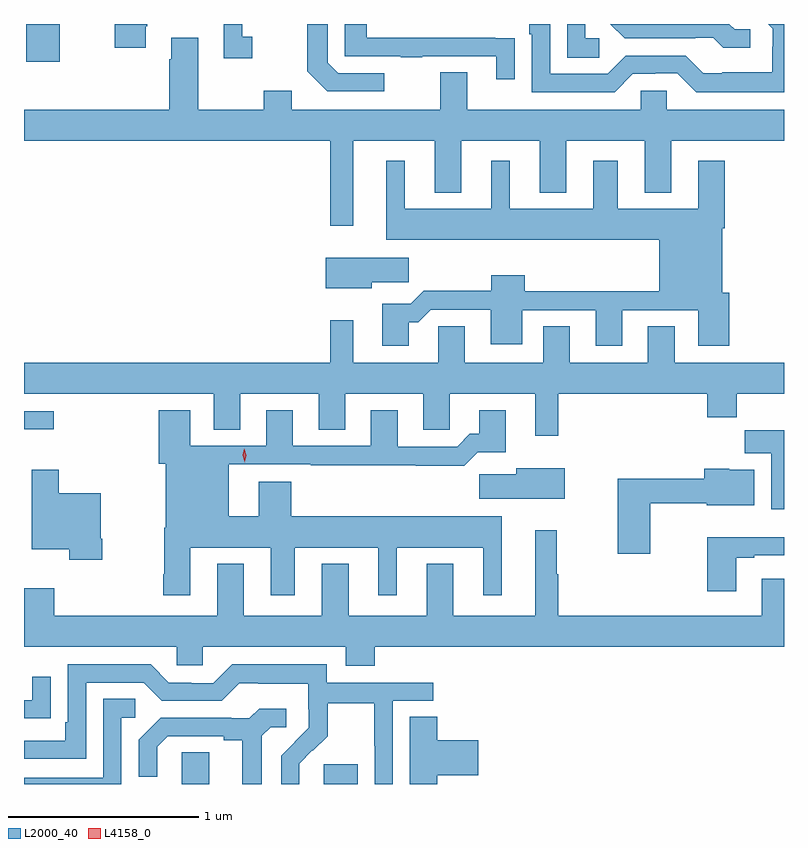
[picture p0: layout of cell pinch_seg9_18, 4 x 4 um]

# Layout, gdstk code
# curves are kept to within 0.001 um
import gdstk
lib = gdstk.Library(unit=1e-6, precision=1e-09)
def R(c, l, rs):  # rectangles x0, y0, x1, y1
    for r in rs: c.add(gdstk.rectangle(r[:2], r[2:], *l))
def P(c, l, *ps):  # polygons
    for p in ps: c.add(gdstk.Polygon(p, *l))
L2000_40 = (2000, 40)
L4158_0 = (4158, 0)

pinch_seg9_18 = lib.new_cell('pinch_seg9_18')
R(pinch_seg9_18, L2000_40, [(1106.988,1211.682,1107.133,1211.849), (1107.734,1211.682,1107.913,1211.787), (1106.157,1213.548,1106.314,1213.644), (1106.168,1215.483,1106.346,1215.682)])
P(pinch_seg9_18, L2000_40, [(1110.157,1215.682),(1110.074,1215.682),(1110.098,1215.658),(1110.098,1215.561),(1110.096,1215.561),(1110.096,1215.427),(1109.833,1215.427),(1109.833,1215.423),(1109.733,1215.423),(1109.64,1215.516),(1109.325,1215.516),(1109.229,1215.42),(1108.926,1215.42),(1108.926,1215.682),(1108.817,1215.682),(1108.817,1215.629),(1108.83,1215.629),(1108.83,1215.324),(1109.265,1215.324),(1109.361,1215.42),(1109.48,1215.42),(1109.48,1215.423),(1109.595,1215.423),(1109.695,1215.323),(1110.157,1215.323)],
  [(1109.98,1215.654),(1109.898,1215.654),(1109.87,1215.682),(1109.242,1215.682),(1109.318,1215.606),(1109.69,1215.606),(1109.69,1215.609),(1109.784,1215.609),(1109.836,1215.557),(1109.98,1215.557)],
  [(1109.185,1215.606),(1109.112,1215.606),(1109.112,1215.682),(1109.016,1215.682),(1109.016,1215.505),(1109.185,1215.505)],
  [(1108.739,1215.608),(1108.637,1215.608),(1108.637,1215.609),(1107.962,1215.609),(1107.962,1215.682),(1107.846,1215.682),(1107.846,1215.513),(1108.141,1215.513),(1108.141,1215.508),(1108.253,1215.508),(1108.253,1215.513),(1108.643,1215.513),(1108.643,1215.39),(1108.739,1215.39)],
  [(1108.054,1215.423),(1107.81,1215.423),(1107.756,1215.477),(1107.756,1215.682),(1107.648,1215.682),(1107.648,1215.433),(1107.753,1215.327),(1108.054,1215.327)],
  [(1106.797,1215.67),(1106.805,1215.67),(1106.805,1215.682),(1106.635,1215.682),(1106.635,1215.558),(1106.797,1215.558)],
  [(1107.358,1215.614),(1107.306,1215.614),(1107.306,1215.682),(1107.209,1215.682),(1107.209,1215.501),(1107.358,1215.501)],
  [(1107.889,1215.068),(1108.319,1215.068),(1108.319,1214.795),(1108.459,1214.795),(1108.459,1215.068),(1108.871,1215.068),(1108.871,1214.795),(1109.011,1214.795),(1109.011,1215.068),(1109.423,1215.068),(1109.423,1214.795),(1109.563,1214.795),(1109.563,1215.068),(1110.157,1215.068),(1110.157,1215.232),(1109.541,1215.232),(1109.541,1215.33),(1109.403,1215.33),(1109.403,1215.232),(1108.489,1215.232),(1108.489,1215.427),(1108.349,1215.427),(1108.349,1215.232),(1107.565,1215.232),(1107.565,1215.331),(1107.418,1215.331),(1107.418,1215.232),(1107.073,1215.232),(1107.073,1215.61),(1106.933,1215.61),(1106.933,1215.497),(1106.921,1215.497),(1106.921,1215.232),(1106.157,1215.232),(1106.157,1215.068),(1107.768,1215.068),(1107.768,1214.619),(1107.889,1214.619)],
  [(1108.183,1214.111),(1108.232,1214.111),(1108.299,1214.178),(1108.613,1214.178),(1108.613,1213.997),(1108.78,1213.997),(1108.78,1214.175),(1109.165,1214.175),(1109.165,1213.989),(1109.305,1213.989),(1109.305,1214.175),(1109.705,1214.175),(1109.705,1213.989),(1109.87,1213.989),(1109.87,1214.268),(1109.833,1214.268),(1109.833,1214.606),(1109.846,1214.606),(1109.846,1214.962),(1109.705,1214.962),(1109.705,1214.71),(1109.281,1214.71),(1109.281,1214.962),(1109.153,1214.962),(1109.153,1214.71),(1108.714,1214.71),(1108.714,1214.962),(1108.616,1214.962),(1108.616,1214.71),(1108.162,1214.71),(1108.162,1214.962),(1108.064,1214.962),(1108.064,1214.546),(1109.501,1214.546),(1109.501,1214.276),(1108.793,1214.276),(1108.793,1214.359),(1108.615,1214.359),(1108.615,1214.279),(1108.262,1214.279),(1108.192,1214.209),(1108.043,1214.209),(1108.043,1213.989),(1108.183,1213.989)],
  [(1107.988,1214.323),(1108.183,1214.323),(1108.183,1214.452),(1107.744,1214.452),(1107.744,1214.291),(1107.988,1214.291)],
  [(1108.969,1213.736),(1109.753,1213.736),(1109.753,1213.612),(1109.909,1213.612),(1109.909,1213.736),(1110.157,1213.736),(1110.157,1213.9),(1109.581,1213.9),(1109.581,1214.09),(1109.441,1214.09),(1109.441,1213.9),(1109.029,1213.9),(1109.029,1214.09),(1108.889,1214.09),(1108.889,1213.9),(1108.477,1213.9),(1108.477,1214.09),(1108.338,1214.09),(1108.338,1213.9),(1107.889,1213.9),(1107.889,1214.122),(1107.768,1214.122),(1107.768,1213.9),(1106.157,1213.9),(1106.157,1213.736),(1107.155,1213.736),(1107.155,1213.546),(1107.295,1213.546),(1107.295,1213.736),(1107.707,1213.736),(1107.707,1213.546),(1107.847,1213.546),(1107.847,1213.736),(1108.259,1213.736),(1108.259,1213.546),(1108.398,1213.546),(1108.398,1213.736),(1108.847,1213.736),(1108.847,1213.515),(1108.969,1213.515)],
  [(1107.031,1212.926),(1107.455,1212.926),(1107.455,1212.675),(1107.583,1212.675),(1107.583,1212.926),(1108.022,1212.926),(1108.022,1212.675),(1108.12,1212.675),(1108.12,1212.926),(1108.574,1212.926),(1108.574,1212.675),(1108.672,1212.675),(1108.672,1213.09),(1107.563,1213.09),(1107.563,1213.273),(1107.392,1213.273),(1107.392,1213.09),(1107.235,1213.09),(1107.235,1213.365),(1107.667,1213.365),(1107.667,1213.36),(1108.219,1213.36),(1108.219,1213.358),(1108.475,1213.358),(1108.544,1213.427),(1108.693,1213.427),(1108.693,1213.648),(1108.553,1213.648),(1108.553,1213.525),(1108.504,1213.525),(1108.437,1213.458),(1108.123,1213.458),(1108.123,1213.648),(1107.983,1213.648),(1107.983,1213.461),(1107.571,1213.461),(1107.571,1213.648),(1107.431,1213.648),(1107.431,1213.461),(1107.031,1213.461),(1107.031,1213.648),(1106.867,1213.648),(1106.867,1213.368),(1106.903,1213.368),(1106.903,1213.03),(1106.896,1213.03),(1106.896,1212.787),(1106.891,1212.787),(1106.891,1212.675),(1107.031,1212.675)],
  [(1110.157,1213.543),(1109.95,1213.543),(1109.95,1213.424),(1110.089,1213.424),(1110.089,1213.128),(1110.157,1213.128)],
  [(1109.002,1213.345),(1108.748,1213.345),(1108.748,1213.313),(1108.554,1213.313),(1108.554,1213.184),(1109.002,1213.184)],
  [(1109.454,1213.159),(1109.75,1213.159),(1109.75,1213.148),(1110.001,1213.148),(1110.001,1213.336),(1109.868,1213.336),(1109.868,1213.342),(1109.738,1213.342),(1109.738,1213.288),(1109.281,1213.288),(1109.281,1212.894),(1109.454,1212.894)],
  [(1106.568,1212.973),(1106.56,1212.973),(1106.56,1213.213),(1106.339,1213.213),(1106.339,1213.336),(1106.198,1213.336),(1106.198,1212.917),(1106.395,1212.917),(1106.395,1212.861),(1106.568,1212.861)],
  [(1108.004,1212.404),(1110.157,1212.404),(1110.157,1212.763),(1110.041,1212.763),(1110.041,1212.568),(1108.969,1212.568),(1108.969,1212.785),(1108.961,1212.785),(1108.961,1213.018),(1108.847,1213.018),(1108.847,1212.568),(1108.417,1212.568),(1108.417,1212.841),(1108.277,1212.841),(1108.277,1212.568),(1107.865,1212.568),(1107.865,1212.841),(1107.725,1212.841),(1107.725,1212.568),(1107.313,1212.568),(1107.313,1212.841),(1107.173,1212.841),(1107.173,1212.568),(1106.317,1212.568),(1106.317,1212.712),(1106.157,1212.712),(1106.157,1212.404),(1106.961,1212.404),(1106.961,1212.306),(1107.099,1212.306),(1107.099,1212.404),(1107.851,1212.404),(1107.851,1212.305),(1108.004,1212.305)],
  [(1109.905,1212.873),(1110.001,1212.873),(1110.001,1212.885),(1110.157,1212.885),(1110.157,1212.982),(1109.753,1212.982),(1109.753,1212.696),(1109.905,1212.696)],
  [(1107.605,1211.789),(1107.675,1211.859),(1107.678,1211.856),(1107.755,1211.933),(1107.755,1212.108),(1108,1212.108),(1108,1211.884),(1108.002,1211.884),(1108.002,1211.682),(1108.098,1211.682),(1108.098,1212.12),(1108.312,1212.12),(1108.312,1212.216),(1107.75,1212.216),(1107.75,1212.313),(1107.253,1212.313),(1107.153,1212.213),(1107.038,1212.213),(1107.038,1212.216),(1106.919,1212.216),(1106.823,1212.312),(1106.388,1212.312),(1106.388,1212.007),(1106.375,1212.007),(1106.375,1211.91),(1106.157,1211.91),(1106.157,1211.814),(1106.484,1211.814),(1106.484,1212.216),(1106.787,1212.216),(1106.883,1212.12),(1107.198,1212.12),(1107.291,1212.213),(1107.391,1212.213),(1107.391,1212.209),(1107.654,1212.209),(1107.654,1212.075),(1107.656,1212.075),(1107.656,1211.978),(1107.51,1211.83),(1107.51,1211.682),(1107.605,1211.682)],
  [(1106.195,1212.028),(1106.297,1212.028),(1106.297,1212.247),(1106.201,1212.247),(1106.201,1212.123),(1106.157,1212.123),(1106.157,1212.027),(1106.195,1212.027)],
  [(1106.67,1212.03),(1106.743,1212.03),(1106.743,1212.131),(1106.574,1212.131),(1106.574,1211.715),(1106.157,1211.715),(1106.157,1211.682),(1106.67,1211.682)],
  [(1107.409,1211.935),(1107.456,1211.982),(1107.538,1211.982),(1107.538,1212.079),(1107.394,1212.079),(1107.342,1212.027),(1107.248,1212.027),(1107.248,1212.03),(1106.876,1212.03),(1106.76,1211.914),(1106.76,1211.721),(1106.857,1211.721),(1106.857,1211.877),(1106.914,1211.934),(1107.209,1211.934),(1107.209,1211.912),(1107.305,1211.912),(1107.305,1211.682),(1107.409,1211.682)],
  [(1108.331,1211.729),(1108.549,1211.729),(1108.549,1211.912),(1108.331,1211.912),(1108.331,1212.035),(1108.187,1212.035),(1108.187,1211.682),(1108.331,1211.682)])
P(pinch_seg9_18, L4158_0, [(1107.319,1213.376),(1107.319,1213.377),(1107.308,1213.411),(1107.317,1213.446),(1107.317,1213.447),(1107.317,1213.446),(1107.328,1213.412),(1107.319,1213.377)])

lib.write_gds('pinch_seg9_18.gds')
